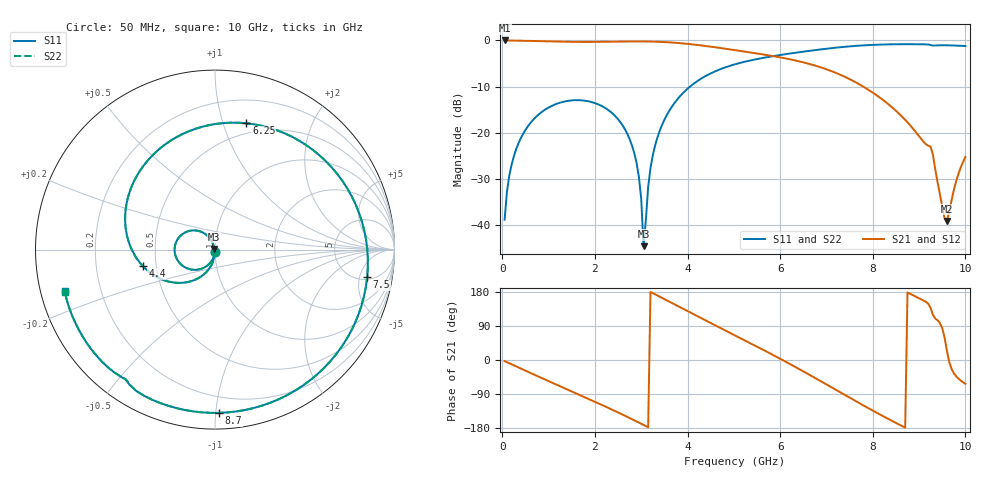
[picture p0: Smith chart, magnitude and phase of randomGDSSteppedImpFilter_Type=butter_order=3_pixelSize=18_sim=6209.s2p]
! freq	dB(S11)	phase(S11)	dB(S12)	phase(S12)
!  dB(S21)	phase(S21)	dB(S22)	phase(S22)
!S-par simulation data
#  GHz  S  DB  R 50
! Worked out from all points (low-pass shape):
!   200 points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, 50 MHz to 10 GHz, reference 50 ohm
!   highest |S21| = -0.01 dB at 50 MHz (marker M1); lowest = -39.1 dB at 9.6 GHz (marker M2)
!   |S21| within 3 dB of the highest: start of sweep to 5.613 GHz
!   lowest |S11| = -44.6 dB at 3.05 GHz (marker M3), VSWR 1.01, Z = 49.5 + j0.359 ohm
!   |S11| at or under -10 dB: start of sweep to 4.055 GHz
!   |S22| runs from -45.4 to -0.8 dB; largest |S21 - S12| = 0
!   S11 on the Smith chart (normalised r, x): 50 MHz: 1.00, -0.02; 4.4 GHz: 0.42, -0.09; 6.25 GHz: 0.40, +1.20; 7.5 GHz: 5.52, -6.57; 8.7 GHz: 0.10, -1.02; 10 GHz: 0.07, -0.14
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0.05  -38.86 -87.7  -0.01 -2.9  -0.01 -2.9  -38.86 -87.7
0.2  -26.97 -100.7  -0.03 -11.3  -0.03 -11.3  -26.97 -100.7
0.5  -19.41 -118.2  -0.09 -28.1  -0.09 -28.1  -19.41 -118.2
1.15  -13.84 -154.4  -0.26 -63.9  -0.26 -63.9  -13.84 -154.4
1.75  -13.03 173.0  -0.34 -96.5  -0.34 -96.5  -13.03 173.0
2.75  -21.39 118.2  -0.22 -153.1  -0.22 -153.1  -21.39 117.8
2.95  -29.61 110.4  -0.22 -165.1  -0.22 -165.1  -29.62 109.1
3  -34.36 112.3  -0.22 -168.2  -0.22 -168.2  -34.41 110.0
3.05  -44.60 142.0  -0.22 -171.2  -0.22 -171.2  -45.35 136.2
3.2  -27.69 -96.9  -0.25 179.5  -0.25 179.5  -27.71 -95.7
3.4  -19.57 -106.1  -0.31 167.0  -0.31 167.0  -19.58 -105.6
4.4  -7.67 -167.4  -1.22 103.9  -1.22 103.9  -7.67 -167.3
5.05  -5.11 152.5  -2.15 63.5  -2.15 63.5  -5.11 152.7
5.65  -3.76 115.1  -3.07 25.9  -3.07 25.9  -3.76 115.2
6.25  -2.79 76.0  -4.18 -13.1  -4.18 -13.1  -2.79 76.1
6.7  -2.18 45.4  -5.30 -43.7  -5.30 -43.7  -2.17 45.5
7.5  -1.29 -10.3  -8.39 -99.4  -8.39 -99.4  -1.29 -10.1
8.35  -0.86 -66.8  -13.94 -156.5  -13.94 -156.5  -0.86 -66.7
8.7  -0.82 -88.6  -17.22 -178.6  -17.22 -178.6  -0.82 -88.4
9.25  -1.00 -122.3  -23.04 136.9  -23.04 136.9  -1.01 -122.2
9.6  -1.06 -141.1  -39.13 25.0  -39.13 25.0  -1.06 -140.9
10  -1.21 -164.5  -25.28 -62.9  -25.28 -62.9  -1.21 -164.3
